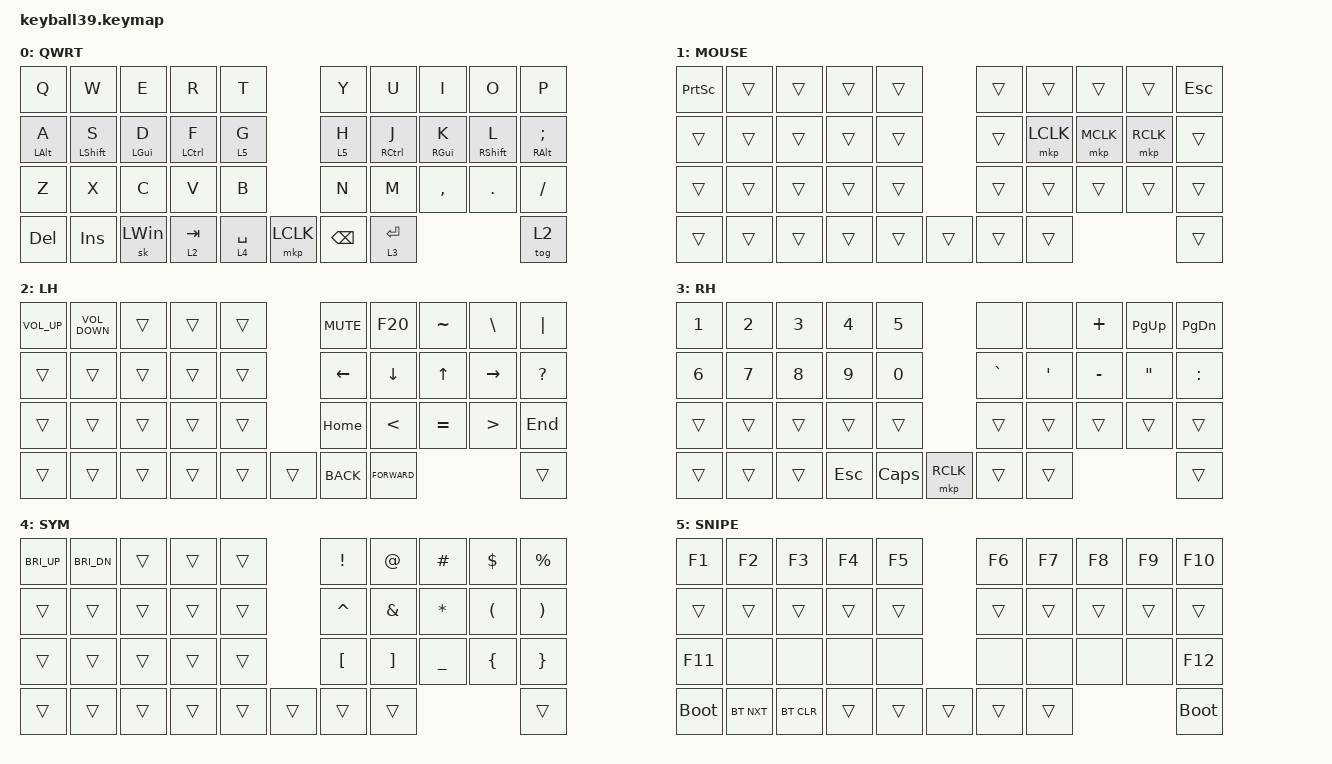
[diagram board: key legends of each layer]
#include <behaviors/mouse_keys.dtsi>
#include <dt-bindings/zmk/mouse.h>
#include <behaviors.dtsi>
#include <dt-bindings/zmk/bt.h>
#include <dt-bindings/zmk/keys.h>
#include <dt-bindings/zmk/pointing.h>

&lt {
    tapping-term-ms = <240>;
    flavor = "balanced";
    quick-tap-ms = <150>;
};

&mt {
    tapping-term-ms = <200>;
    flavor = "tap-preferred";
    quick-tap-ms = <150>;
};

/ {
    combos { compatible = "zmk,combos"; };

    keymap {
        compatible = "zmk,keymap";

        default_layer {
            label = "QWRT";
            bindings = <
&kp Q           &kp W         &kp E           &kp R        &kp T                                  &kp Y        &kp U        &kp I            &kp O              &kp P
&mt LEFT_ALT A  &mt LSHIFT S  &mt LEFT_GUI D  &mt LCTRL F  &lt 5 G                                &lt 5 H      &mt RCTRL J  &mt RIGHT_GUI K  &mt RIGHT_SHIFT L  &mt RIGHT_ALT SEMI
&kp Z           &kp X         &kp C           &kp V        &kp B                                  &kp N        &kp M        &kp COMMA        &kp PERIOD         &kp SLASH
&kp DELETE      &kp INS       &sk LEFT_WIN    &lt 2 TAB    &lt 4 SPACE  &mkp LCLK  &kp BACKSPACE  &lt 3 ENTER                                                   &tog 2
            >;
        };

        MOUSE {
            label = "MOUSE";
            bindings = <
&kp PRINTSCREEN  &trans  &trans  &trans  &trans                  &trans  &trans     &trans     &trans     &kp ESC
&trans           &trans  &trans  &trans  &trans                  &trans  &mkp LCLK  &mkp MCLK  &mkp RCLK  &trans
&trans           &trans  &trans  &trans  &trans                  &trans  &trans     &trans     &trans     &trans
&trans           &trans  &trans  &trans  &trans  &trans  &trans  &trans                                   &trans
            >;
        };

        LH {
            label = "LH";
            bindings = <
&kp C_VOL_UP  &kp C_VOLUME_DOWN  &trans  &trans  &trans                      &kp K_MUTE     &kp F20        &kp TILDE  &kp BACKSLASH     &kp PIPE
&trans        &trans             &trans  &trans  &trans                      &kp LEFT       &kp DOWN       &kp UP     &kp RIGHT         &kp QUESTION
&trans        &trans             &trans  &trans  &trans                      &kp HOME       &kp LESS_THAN  &kp EQUAL  &kp GREATER_THAN  &kp END
&trans        &trans             &trans  &trans  &trans  &trans  &kp K_BACK  &kp K_FORWARD                                              &trans
            >;
        };

        RH {
            label = "RH";
            bindings = <
&kp N1  &kp N2  &kp N3  &kp N4   &kp N5                       &none      &none             &kp PLUS   &kp PAGE_UP        &kp PAGE_DOWN
&kp N6  &kp N7  &kp N8  &kp N9   &kp N0                       &kp GRAVE  &kp SINGLE_QUOTE  &kp MINUS  &kp DOUBLE_QUOTES  &kp COLON
&trans  &trans  &trans  &trans   &trans                       &trans     &trans            &trans     &trans             &trans
&trans  &trans  &trans  &kp ESC  &kp CAPS  &mkp RCLK  &trans  &trans                                                     &trans
            >;
        };

        SYM {
            label = "SYM";
            bindings = <
&kp C_BRI_UP  &kp C_BRI_DN  &trans  &trans  &trans                  &kp EXCLAMATION   &kp AT_SIGN        &kp HASH        &kp DOLLAR            &kp PERCENT
&trans        &trans        &trans  &trans  &trans                  &kp CARET         &kp AMPERSAND      &kp ASTERISK    &kp LEFT_PARENTHESIS  &kp RIGHT_PARENTHESIS
&trans        &trans        &trans  &trans  &trans                  &kp LEFT_BRACKET  &kp RIGHT_BRACKET  &kp UNDERSCORE  &kp LEFT_BRACE        &kp RIGHT_BRACE
&trans        &trans        &trans  &trans  &trans  &trans  &trans  &trans                                                                     &trans
            >;
        };

        SNIPE {
            label = "SNIPE";
            bindings = <
&kp F1       &kp F2      &kp F3      &kp F4  &kp F5                  &kp F6  &kp F7  &kp F8  &kp F9  &kp F10
&trans       &trans      &trans      &trans  &trans                  &trans  &trans  &trans  &trans  &trans
&kp F11      &none       &none       &none   &none                   &none   &none   &none   &none   &kp F12
&bootloader  &bt BT_NXT  &bt BT_CLR  &trans  &trans  &trans  &trans  &trans                          &bootloader
            >;
        };
    };
};
